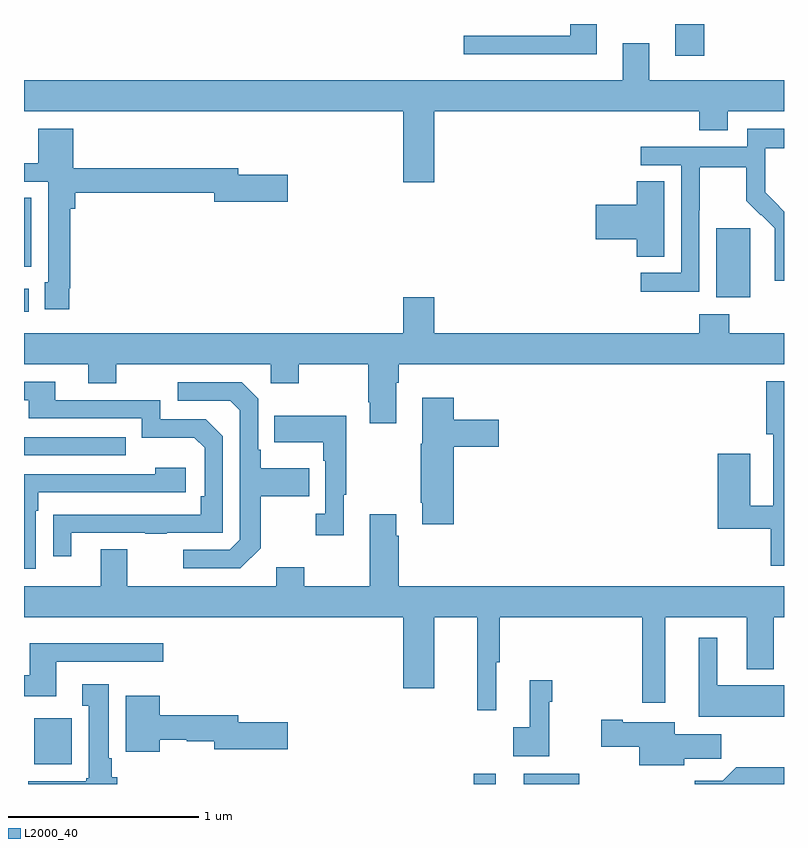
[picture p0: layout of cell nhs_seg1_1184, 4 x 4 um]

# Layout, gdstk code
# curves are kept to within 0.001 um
import gdstk
lib = gdstk.Library(unit=1e-6, precision=1e-09)
def R(c, l, rs):  # rectangles x0, y0, x1, y1
    for r in rs: c.add(gdstk.rectangle(r[:2], r[2:], *l))
def P(c, l, *ps):  # polygons
    for p in ps: c.add(gdstk.Polygon(p, *l))
L2000_40 = (2000, 40)

nhs_seg1_1184 = lib.new_cell('nhs_seg1_1184')
R(nhs_seg1_1184, L2000_40, [(177.367,540.199,177.483,540.253), (177.629,540.199,177.922,540.253), (175.055,540.302,175.252,540.544), (175,541.929,175.535,542.025), (175,542.684,175.024,542.806), (178.643,542.762,178.822,543.123), (175,542.922,175.039,543.284), (178.427,544.032,178.58,544.199)])
P(nhs_seg1_1184, L2000_40, [(178.015,544.199),(177.875,544.199),(177.875,544.137),(177.315,544.137),(177.315,544.04),(178.015,544.04)],
  [(177.16,543.74),(178.553,543.74),(178.553,543.641),(178.705,543.641),(178.705,543.74),(179,543.74),(179,543.904),(178.291,543.904),(178.291,544.099),(178.151,544.099),(178.151,543.904),(175,543.904),(175,543.74),(176.996,543.74),(176.996,543.366),(177.16,543.366)],
  [(178.554,543.22),(178.557,543.22),(178.557,543.444),(178.801,543.444),(178.801,543.269),(178.878,543.192),(178.881,543.195),(178.952,543.125),(178.952,543.002),(178.95,543.002),(178.95,542.848),(179,542.848),(179,543.212),(178.973,543.239),(178.974,543.24),(178.9,543.314),(178.9,543.411),(178.902,543.411),(178.902,543.545),(179,543.545),(179,543.649),(178.806,543.649),(178.806,543.552),(178.245,543.552),(178.245,543.456),(178.458,543.456),(178.458,542.889),(178.245,542.889),(178.245,542.791),(178.554,542.791)],
  [(175.237,542.809),(175.244,542.809),(175.244,543.227),(175.271,543.227),(175.271,543.31),(176,543.31),(176,543.263),(176.389,543.263),(176.389,543.405),(176.128,543.405),(176.128,543.439),(175.258,543.439),(175.258,543.649),(175.076,543.649),(175.076,543.465),(175,543.465),(175,543.369),(175.128,543.369),(175.128,542.841),(175.109,542.841),(175.109,542.697),(175.237,542.697)],
  [(178.369,543.371),(178.226,543.371),(178.226,543.248),(178.008,543.248),(178.008,543.065),(178.226,543.065),(178.226,542.974),(178.369,542.974)],
  [(179,542.572),(178.713,542.572),(178.713,542.671),(178.553,542.671),(178.553,542.572),(177.16,542.572),(177.16,542.761),(176.996,542.761),(176.996,542.572),(175,542.572),(175,542.408),(175.337,542.408),(175.337,542.309),(175.485,542.309),(175.485,542.408),(176.298,542.408),(176.298,542.309),(176.445,542.309),(176.445,542.408),(176.812,542.408),(176.812,542.209),(176.819,542.209),(176.819,542.097),(176.959,542.097),(176.959,542.312),(176.972,542.312),(176.972,542.408),(179,542.408)],
  [(179,542.32),(178.907,542.32),(178.907,542.04),(178.943,542.04),(178.943,541.663),(178.822,541.663),(178.822,541.936),(178.652,541.936),(178.652,541.542),(178.931,541.542),(178.931,541.347),(179,541.347)],
  [(175.249,541.521),(175.639,541.521),(175.639,541.516),(175.751,541.516),(175.751,541.521),(176.046,541.521),(176.046,542.028),(175.956,542.118),(175.716,542.118),(175.716,542.22),(175.165,542.22),(175.165,542.316),(175,542.316),(175,542.22),(175.025,542.22),(175.025,542.124),(175.62,542.124),(175.62,542.021),(175.897,542.021),(175.95,541.968),(175.95,541.714),(175.93,541.714),(175.93,541.617),(175.153,541.616),(175.153,541.398),(175.249,541.398)],
  [(176.245,541.441),(176.245,541.714),(176.501,541.714),(176.501,541.861),(176.245,541.861),(176.245,541.957),(176.232,541.957),(176.232,542.226),(176.145,542.313),(175.809,542.313),(175.809,542.217),(176.085,542.217),(176.136,542.166),(176.136,541.485),(176.082,541.431),(175.839,541.431),(175.839,541.335),(176.139,541.335)],
  [(177.263,541.973),(177.499,541.973),(177.499,542.115),(177.263,542.115),(177.263,542.233),(177.095,542.233),(177.095,541.989),(177.088,541.989),(177.088,541.678),(177.095,541.678),(177.095,541.566),(177.263,541.566)],
  [(176.683,541.721),(176.695,541.721),(176.695,542.137),(176.317,542.137),(176.317,541.997),(176.574,541.997),(176.574,541.901),(176.586,541.901),(176.586,541.622),(176.535,541.622),(176.535,541.509),(176.683,541.509)],
  [(175.062,541.637),(175.075,541.637),(175.075,541.734),(175.852,541.734),(175.852,541.864),(175.691,541.864),(175.691,541.83),(175,541.83),(175,541.332),(175.062,541.332)],
  [(177.485,540.84),(177.503,540.84),(177.503,541.076),(178.254,541.076),(178.254,540.627),(178.375,540.627),(178.375,541.076),(178.805,541.076),(178.805,540.803),(178.945,540.803),(178.945,541.076),(179,541.076),(179,541.24),(176.972,541.24),(176.972,541.505),(176.959,541.505),(176.959,541.618),(176.819,541.618),(176.819,541.24),(176.475,541.24),(176.475,541.339),(176.327,541.339),(176.327,541.24),(175.543,541.24),(175.543,541.435),(175.403,541.435),(175.403,541.24),(175,541.24),(175,541.076),(176.996,541.076),(176.996,540.702),(177.16,540.702),(177.16,541.076),(177.385,541.076),(177.385,540.588),(177.485,540.588)],
  [(179,540.718),(178.648,540.718),(178.648,540.97),(178.55,540.97),(178.55,540.554),(179,540.554)],
  [(175.171,540.843),(175.732,540.843),(175.732,540.94),(175.031,540.94),(175.031,540.772),(175,540.772),(175,540.662),(175.171,540.662)],
  [(177.764,540.632),(177.779,540.632),(177.779,540.745),(177.662,540.745),(177.662,540.497),(177.576,540.497),(177.576,540.344),(177.764,540.344)],
  [(175.492,540.234),(175.462,540.234),(175.462,540.334),(175.447,540.334),(175.447,540.724),(175.307,540.724),(175.307,540.611),(175.34,540.611),(175.34,540.228),(175.327,540.228),(175.327,540.214),(175.023,540.214),(175.023,540.199),(175.492,540.199)],
  [(175.714,540.432),(175.857,540.432),(175.857,540.424),(176,540.424),(176,540.382),(176.389,540.382),(176.389,540.524),(176.128,540.524),(176.128,540.56),(175.714,540.56),(175.714,540.664),(175.535,540.664),(175.535,540.368),(175.714,540.368)],
  [(178.474,540.331),(178.669,540.331),(178.669,540.46),(178.426,540.46),(178.426,540.523),(178.15,540.523),(178.15,540.536),(178.038,540.536),(178.038,540.394),(178.238,540.394),(178.238,540.299),(178.474,540.299)],
  [(179,540.287),(178.748,540.287),(178.678,540.217),(178.529,540.217),(178.529,540.199),(179,540.199)])

lib.write_gds('nhs_seg1_1184.gds')
